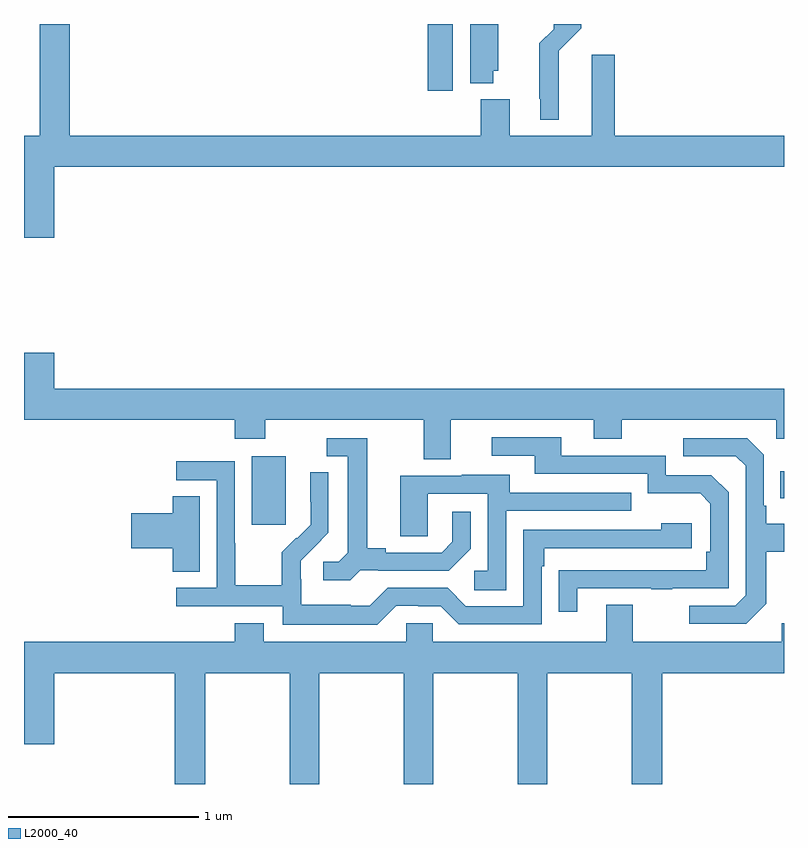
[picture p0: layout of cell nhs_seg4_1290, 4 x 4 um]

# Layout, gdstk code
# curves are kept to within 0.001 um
import gdstk
lib = gdstk.Library(unit=1e-6, precision=1e-09)
def R(c, l, rs):  # rectangles x0, y0, x1, y1
    for r in rs: c.add(gdstk.rectangle(r[:2], r[2:], *l))
def P(c, l, *ps):  # polygons
    for p in ps: c.add(gdstk.Polygon(p, *l))
L2000_40 = (2000, 40)

nhs_seg4_1290 = lib.new_cell('nhs_seg4_1290')
R(nhs_seg4_1290, L2000_40, [(178.199,800.265,178.378,800.626), (180.979,800.405,181,800.545), (179.126,802.548,179.257,802.9)])
P(nhs_seg4_1290, L2000_40, [(179.47,802.653),(179.497,802.653),(179.497,802.9),(179.348,802.9),(179.348,802.589),(179.47,802.589)],
  [(179.815,802.76),(179.933,802.878),(179.933,802.9),(179.787,802.9),(179.787,802.872),(179.713,802.798),(179.713,802.507),(179.717,802.507),(179.717,802.397),(179.815,802.397)],
  [(177.16,802.148),(181,802.148),(181,802.312),(180.11,802.312),(180.11,802.738),(179.987,802.738),(179.987,802.312),(179.557,802.312),(179.557,802.504),(179.405,802.504),(179.405,802.312),(177.242,802.312),(177.242,802.9),(177.082,802.9),(177.082,802.312),(177,802.312),(177,801.774),(177.16,801.774)],
  [(177.16,801.169),(177,801.169),(177,800.816),(178.109,800.816),(178.109,800.717),(178.269,800.717),(178.269,800.816),(179.105,800.816),(179.105,800.608),(179.245,800.608),(179.245,800.816),(179.999,800.816),(179.999,800.717),(180.147,800.717),(180.147,800.816),(180.96,800.816),(180.96,800.717),(181,800.717),(181,800.98),(177.16,800.98)],
  [(179.911,799.929),(180.301,799.929),(180.301,799.924),(180.413,799.924),(180.413,799.929),(180.708,799.929),(180.708,800.436),(180.618,800.526),(180.378,800.526),(180.378,800.628),(179.827,800.628),(179.827,800.724),(179.463,800.724),(179.463,800.628),(179.687,800.628),(179.687,800.532),(180.282,800.532),(180.282,800.429),(180.559,800.429),(180.612,800.376),(180.612,800.122),(180.592,800.122),(180.592,800.025),(179.815,800.024),(179.815,799.806),(179.911,799.806)],
  [(180.907,799.849),(180.907,800.122),(181,800.122),(181,800.269),(180.907,800.269),(180.907,800.365),(180.894,800.365),(180.894,800.634),(180.807,800.721),(180.471,800.721),(180.471,800.625),(180.747,800.625),(180.798,800.574),(180.798,799.893),(180.744,799.839),(180.501,799.839),(180.501,799.743),(180.801,799.743)],
  [(178.77,800.025),(178.864,800.025),(178.864,800.022),(179.236,800.022),(179.352,800.138),(179.352,800.332),(179.255,800.332),(179.255,800.175),(179.198,800.118),(178.903,800.118),(178.903,800.141),(178.807,800.141),(178.807,800.721),(178.593,800.721),(178.593,800.625),(178.703,800.625),(178.703,800.117),(178.656,800.07),(178.575,800.07),(178.575,799.973),(178.718,799.973)],
  [(178.959,799.839),(179.075,799.839),(179.075,799.836),(179.193,799.836),(179.289,799.74),(179.724,799.74),(179.724,800.045),(179.737,800.045),(179.737,800.142),(180.514,800.142),(180.514,800.272),(180.353,800.272),(180.353,800.238),(179.628,800.238),(179.628,799.836),(179.325,799.836),(179.229,799.932),(178.914,799.932),(178.821,799.839),(178.721,799.839),(178.721,799.843),(178.458,799.843),(178.458,799.977),(178.456,799.977),(178.456,800.074),(178.602,800.222),(178.602,800.54),(178.506,800.54),(178.506,800.386),(178.508,800.386),(178.508,800.264),(178.437,800.193),(178.434,800.196),(178.357,800.119),(178.357,799.945),(178.113,799.945),(178.113,800.168),(178.11,800.168),(178.11,800.598),(177.801,800.598),(177.801,800.499),(178.014,800.499),(178.014,799.932),(177.801,799.932),(177.801,799.836),(178.362,799.836),(178.362,799.739),(178.859,799.739)],
  [(179.538,800.337),(180.197,800.337),(180.197,800.433),(179.557,800.433),(179.557,800.527),(179.303,800.527),(179.303,800.523),(178.979,800.523),(178.979,800.203),(179.124,800.203),(179.124,800.427),(179.442,800.427),(179.442,800.022),(179.37,800.022),(179.37,799.921),(179.538,799.921)],
  [(177.925,800.414),(177.782,800.414),(177.782,800.324),(177.564,800.324),(177.564,800.141),(177.782,800.141),(177.782,800.017),(177.925,800.017)],
  [(177.954,799.484),(178.399,799.484),(178.399,798.9),(178.554,798.9),(178.554,799.484),(178.999,799.484),(178.999,798.9),(179.154,798.9),(179.154,799.484),(179.599,799.484),(179.599,798.9),(179.754,798.9),(179.754,799.484),(180.199,799.484),(180.199,798.9),(180.359,798.9),(180.359,799.484),(181,799.484),(181,799.747),(180.989,799.747),(180.989,799.648),(180.205,799.648),(180.205,799.843),(180.065,799.843),(180.065,799.648),(179.151,799.648),(179.151,799.746),(179.013,799.746),(179.013,799.648),(178.261,799.648),(178.261,799.747),(178.109,799.747),(178.109,799.648),(177,799.648),(177,799.11),(177.16,799.11),(177.16,799.484),(177.794,799.484),(177.794,798.9),(177.954,798.9)])

lib.write_gds('nhs_seg4_1290.gds')
